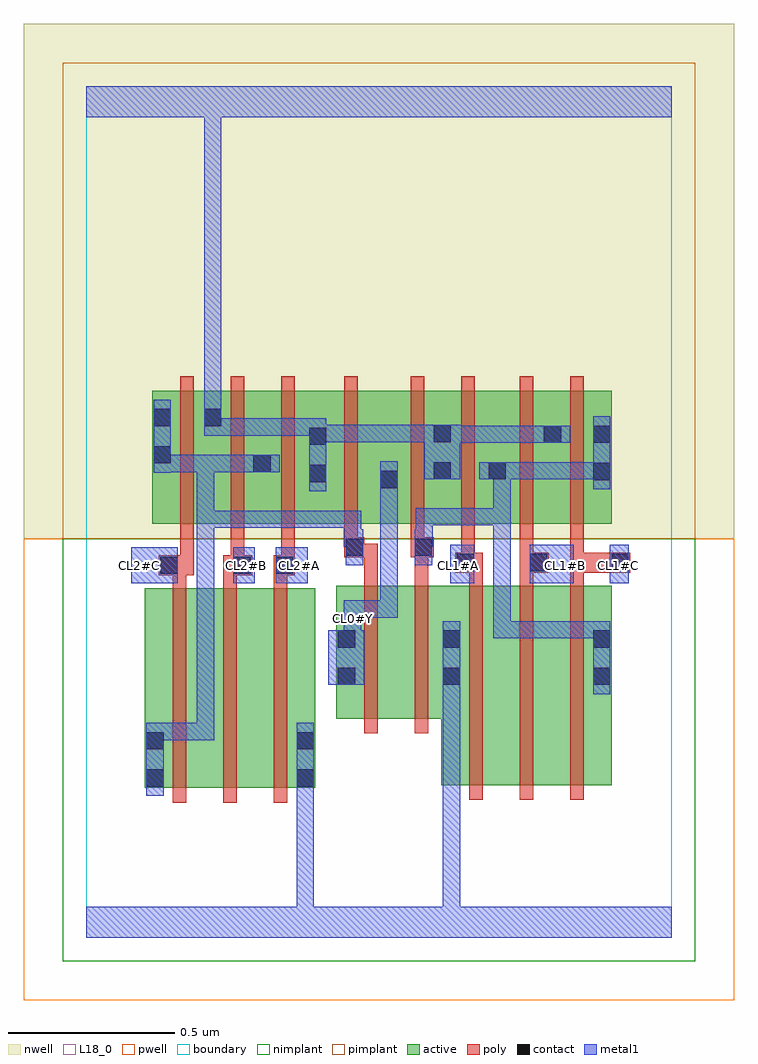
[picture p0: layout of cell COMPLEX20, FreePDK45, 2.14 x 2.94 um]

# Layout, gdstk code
import gdstk
lib = gdstk.Library(unit=1e-6, precision=1e-09)
def R(c, l, rs):  # rectangles x0, y0, x1, y1
    for r in rs: c.add(gdstk.rectangle(r[:2], r[2:], *l))
def A(c, l, x, y, w, h, nx, ny, dx, dy):  # array of equal rectangles
    R(c, l, [(x+i*dx, y+j*dy, x+i*dx+w, y+j*dy+h) for i in range(nx) for j in range(ny)])
active = (1, 0)
pwell = (2, 0)
nwell = (3, 0)
nimplant = (4, 0)
pimplant = (5, 0)
poly = (9, 0)
contact = (10, 0)
metal1 = (11, 0)
L18_0 = (18, 0)
boundary = (235, 0)

complex20 = lib.new_cell('COMPLEX20')
A(complex20, active, 1.04, 1.244, 0.06, 0.4, 3, 1, 0.166, 0)
R(complex20, active, [(0.176,0.45,0.356,1.05), (0.176,0.45,0.236,1.05), (0.356,0.45,0.508,1.05), (0.508,0.45,0.688,1.05), (0.628,0.45,0.688,1.05), (1.068,0.458,1.248,1.058), (1.248,0.458,1.4,1.058), (1.4,0.458,1.58,1.058), (1.52,0.556,1.58,1.058), (0.752,0.658,0.932,1.058), (0.932,0.658,1.128,1.058), (0.752,0.756,0.812,1.058), (1.068,0.756,1.128,1.058), (0.198,1.244,0.258,1.644), (0.198,1.244,0.41,1.644), (0.35,1.244,0.41,1.644), (0.35,1.244,0.558,1.644), (0.498,1.244,0.558,1.644), (0.498,1.244,0.726,1.644), (0.666,1.244,0.726,1.644), (0.666,1.244,0.94,1.644), (0.88,1.244,0.94,1.644), (0.88,1.244,1.1,1.644), (1.04,1.244,1.266,1.644), (1.206,1.244,1.432,1.644), (1.372,1.244,1.58,1.644), (1.52,1.244,1.58,1.644)])
R(complex20, pwell, [(-0.188,-0.188,1.948,1.2)])
R(complex20, nwell, [(-0.188,1.2,1.948,2.748)])
R(complex20, nimplant, [(-0.072,-0.072,1.832,1.2)])
R(complex20, pimplant, [(-0.072,1.2,1.832,2.632)])
A(complex20, poly, 0.26, 0.406, 0.04, 0.688, 3, 1, 0.152, 0)
A(complex20, poly, 1.152, 0.414, 0.04, 0.688, 3, 1, 0.152, 0)
A(complex20, poly, 0.26, 1.054, 0.04, 0.076, 3, 1, 0.152, 0)
A(complex20, poly, 1.152, 1.062, 0.04, 0.076, 3, 1, 0.152, 0)
A(complex20, poly, 0.282, 1.11, 0.04, 0.13, 3, 1, 0.152, 0)
A(complex20, poly, 0.282, 1.2, 0.04, 0.488, 3, 1, 0.152, 0)
R(complex20, poly, [(0.836,0.614,0.876,1.102), (0.988,0.614,1.028,1.102), (0.836,1.062,0.876,1.184), (0.988,1.062,1.028,1.184), (0.218,1.09,0.322,1.15), (0.26,1.09,0.3,1.13), (0.26,1.09,0.3,1.13), (0.412,1.09,0.498,1.15), (0.564,1.09,0.626,1.15), (1.11,1.098,1.192,1.158), (1.304,1.098,1.344,1.138), (1.304,1.098,1.344,1.138), (1.304,1.098,1.39,1.158), (1.456,1.098,1.496,1.138), (1.456,1.098,1.496,1.138), (1.456,1.098,1.636,1.158), (0.434,1.11,0.474,1.15), (0.434,1.11,0.474,1.15), (0.586,1.11,0.626,1.15), (0.586,1.11,0.626,1.15), (1.128,1.118,1.168,1.24), (1.128,1.118,1.168,1.158), (1.128,1.118,1.168,1.158), (1.304,1.118,1.344,1.24), (1.456,1.118,1.496,1.24), (0.776,1.144,0.836,1.204), (0.796,1.144,0.836,1.184), (0.796,1.144,0.876,1.184), (0.976,1.144,1.044,1.204), (0.988,1.144,1.028,1.184), (0.988,1.144,1.028,1.184), (0.776,1.164,0.816,1.24), (0.976,1.164,1.016,1.24), (0.776,1.2,0.816,1.688), (0.976,1.2,1.016,1.688), (1.128,1.2,1.168,1.688), (1.304,1.2,1.344,1.688), (1.456,1.2,1.496,1.688)])
R(complex20, contact, [(0.18,0.454,0.232,0.506), (0.632,0.454,0.684,0.506), (0.18,0.566,0.232,0.618), (0.632,0.566,0.684,0.618), (0.756,0.76,0.808,0.812), (1.072,0.76,1.124,0.812), (1.524,0.76,1.576,0.812), (0.756,0.872,0.808,0.924), (1.072,0.872,1.124,0.924), (1.524,0.872,1.576,0.924), (0.222,1.094,0.274,1.146), (0.442,1.094,0.494,1.146), (0.57,1.094,0.622,1.146), (1.114,1.102,1.166,1.154), (1.334,1.102,1.386,1.154), (1.58,1.102,1.632,1.154), (0.78,1.148,0.832,1.2), (0.988,1.148,1.04,1.2), (0.884,1.352,0.936,1.404), (0.67,1.37,0.722,1.422), (1.524,1.376,1.576,1.428), (1.044,1.378,1.096,1.43), (1.21,1.378,1.262,1.43), (0.502,1.4,0.554,1.452), (0.202,1.426,0.254,1.478), (0.67,1.482,0.722,1.534), (1.376,1.488,1.428,1.54), (1.524,1.488,1.576,1.54), (1.044,1.49,1.096,1.542), (0.202,1.538,0.254,1.59), (0.354,1.538,0.406,1.59)])
R(complex20, metal1, [(0,0,1.76,0.092), (0.632,0.04,0.684,0.092), (0.632,0.04,0.684,0.092), (0.632,0.04,0.684,0.092), (0.632,0.04,0.684,0.092), (0.632,0.04,0.684,0.092), (0.632,0.04,0.684,0.092), (0.632,0.04,0.684,0.092), (0.632,0.04,0.684,0.092), (0.632,0.04,0.684,0.478), (1.072,0.04,1.124,0.092), (1.072,0.04,1.124,0.092), (1.072,0.04,1.124,0.092), (1.072,0.04,1.124,0.092), (1.072,0.04,1.124,0.092), (1.072,0.04,1.124,0.092), (1.072,0.04,1.124,0.784), (0.18,0.426,0.232,0.646), (0.632,0.426,0.684,0.646), (0.18,0.594,0.232,0.646), (0.18,0.594,0.232,0.646), (0.18,0.594,0.384,0.646), (0.332,0.594,0.384,0.646), (0.332,0.594,0.384,0.646), (0.332,0.594,0.384,0.646), (0.332,0.594,0.384,1.284), (1.072,0.732,1.124,0.784), (1.072,0.732,1.124,0.784), (1.072,0.732,1.124,0.952), (1.524,0.732,1.576,0.952), (0.728,0.76,0.836,0.924), (0.774,0.872,0.826,0.958), (1.224,0.9,1.276,0.952), (1.224,0.9,1.276,0.952), (1.224,0.9,1.276,0.952), (1.224,0.9,1.4,0.952), (1.224,0.9,1.276,1.292), (1.348,0.9,1.4,0.952), (1.348,0.9,1.4,0.952), (1.348,0.9,1.4,0.952), (1.348,0.9,1.576,0.952), (1.524,0.9,1.576,0.952), (1.524,0.9,1.576,0.952), (0.774,0.906,0.826,1.014), (0.774,0.962,0.836,1.014), (0.784,0.962,0.836,1.014), (0.784,0.962,0.936,1.014), (0.884,0.962,0.936,1.014), (0.884,0.962,0.936,1.014), (0.884,0.962,0.936,1.014), (0.884,0.962,0.936,1.376), (0.134,1.066,0.274,1.174), (0.442,1.066,0.506,1.174), (0.57,1.066,0.666,1.174), (1.094,1.066,1.166,1.182), (1.334,1.066,1.466,1.182), (1.574,1.066,1.632,1.182), (0.78,1.12,0.832,1.228), (0.988,1.12,1.04,1.228), (0.774,1.176,0.826,1.284), (0.774,1.176,0.832,1.228), (0.988,1.176,1.042,1.228), (0.99,1.176,1.042,1.292), (0.332,1.232,0.384,1.284), (0.332,1.232,0.384,1.284), (0.332,1.232,0.384,1.284), (0.332,1.232,0.384,1.452), (0.332,1.232,0.516,1.284), (0.464,1.232,0.516,1.284), (0.464,1.232,0.67,1.284), (0.618,1.232,0.67,1.284), (0.618,1.232,0.67,1.284), (0.618,1.232,0.67,1.284), (0.618,1.232,0.826,1.284), (0.99,1.24,1.166,1.292), (1.114,1.24,1.166,1.292), (1.114,1.24,1.276,1.292), (1.224,1.24,1.276,1.292), (1.224,1.24,1.276,1.43), (0.884,1.324,0.936,1.432), (0.67,1.342,0.722,1.562), (1.524,1.348,1.576,1.568), (1.016,1.378,1.124,1.542), (1.182,1.378,1.29,1.43), (1.238,1.378,1.29,1.43), (1.238,1.378,1.29,1.43), (1.238,1.378,1.4,1.43), (1.348,1.378,1.4,1.43), (1.348,1.378,1.576,1.43), (1.524,1.378,1.576,1.43), (1.524,1.378,1.576,1.43), (0.202,1.398,0.254,1.618), (0.202,1.4,0.254,1.452), (0.202,1.4,0.254,1.452), (0.202,1.4,0.384,1.452), (0.332,1.4,0.384,1.452), (0.332,1.4,0.384,1.452), (0.332,1.4,0.384,1.452), (0.332,1.4,0.526,1.452), (0.474,1.4,0.582,1.452), (1.072,1.488,1.15,1.54), (1.098,1.488,1.15,1.54), (1.098,1.488,1.276,1.54), (1.224,1.488,1.276,1.54), (1.224,1.488,1.276,1.54), (1.224,1.488,1.276,1.54), (1.224,1.488,1.4,1.54), (1.348,1.488,1.456,1.54), (0.67,1.49,0.826,1.542), (0.774,1.49,0.826,1.542), (0.774,1.49,0.836,1.542), (0.784,1.49,0.836,1.542), (0.784,1.49,0.936,1.542), (0.884,1.49,0.936,1.542), (0.884,1.49,0.946,1.542), (0.894,1.49,0.946,1.542), (0.894,1.49,1.068,1.542), (0.354,1.51,0.406,1.562), (0.354,1.51,0.406,1.562), (0.354,1.51,0.406,1.618), (0.354,1.51,0.56,1.562), (0.508,1.51,0.56,1.562), (0.508,1.51,0.56,1.562), (0.508,1.51,0.56,1.562), (0.508,1.51,0.722,1.562), (0.354,1.566,0.406,1.618), (0.354,1.566,0.406,1.618), (0.354,1.566,0.406,1.618), (0.354,1.566,0.406,1.618), (0.354,1.566,0.406,1.618), (0.354,1.566,0.406,1.618), (0.354,1.566,0.406,1.618), (0.354,1.566,0.406,1.618), (0.354,1.566,0.406,1.618), (0.354,1.566,0.406,1.618), (0.354,1.566,0.406,1.618), (0.354,1.566,0.406,1.618), (0.354,1.566,0.406,2.52), (0,2.468,1.76,2.56), (0.354,2.468,0.406,2.52), (0.354,2.468,0.406,2.52), (0.354,2.468,0.406,2.52), (0.354,2.468,0.406,2.52)])
R(complex20, L18_0, [(0,0,1.76,0.092), (0.632,0.04,0.684,0.092), (0.632,0.04,0.684,0.092), (0.632,0.04,0.684,0.092), (0.632,0.04,0.684,0.092), (0.632,0.04,0.684,0.092), (0.632,0.04,0.684,0.092), (0.632,0.04,0.684,0.092), (0.632,0.04,0.684,0.092), (0.632,0.04,0.684,0.478), (1.072,0.04,1.124,0.092), (1.072,0.04,1.124,0.092), (1.072,0.04,1.124,0.092), (1.072,0.04,1.124,0.092), (1.072,0.04,1.124,0.092), (1.072,0.04,1.124,0.092), (1.072,0.04,1.124,0.784), (0.632,0.426,0.684,0.646), (1.072,0.732,1.124,0.784), (1.072,0.732,1.124,0.784), (1.072,0.732,1.124,0.952), (0.728,0.76,0.836,0.924), (0.774,0.872,0.826,0.958), (0.774,0.906,0.826,1.014), (0.774,0.934,0.826,0.986), (0.774,0.962,0.836,1.014), (0.784,0.962,0.836,1.014), (0.784,0.962,0.936,1.014), (0.884,0.962,0.936,1.014), (0.884,0.962,0.936,1.014), (0.884,0.962,0.936,1.014), (0.884,0.962,0.936,1.376), (0.134,1.066,0.274,1.174), (0.442,1.066,0.506,1.174), (0.57,1.066,0.666,1.174), (1.094,1.066,1.166,1.182), (1.334,1.066,1.466,1.182), (1.574,1.066,1.632,1.182), (0.134,1.094,0.186,1.146), (0.454,1.094,0.506,1.146), (0.614,1.094,0.666,1.146), (1.094,1.094,1.146,1.146), (1.414,1.094,1.466,1.146), (1.574,1.094,1.626,1.146), (0.884,1.324,0.936,1.432), (0.67,1.342,0.722,1.562), (1.016,1.378,1.124,1.542), (1.072,1.488,1.15,1.54), (1.098,1.488,1.15,1.54), (1.098,1.488,1.276,1.54), (1.224,1.488,1.276,1.54), (1.224,1.488,1.276,1.54), (1.224,1.488,1.276,1.54), (1.224,1.488,1.4,1.54), (1.348,1.488,1.456,1.54), (0.67,1.49,0.826,1.542), (0.774,1.49,0.826,1.542), (0.774,1.49,0.836,1.542), (0.784,1.49,0.836,1.542), (0.784,1.49,0.936,1.542), (0.884,1.49,0.936,1.542), (0.884,1.49,0.946,1.542), (0.894,1.49,0.946,1.542), (0.894,1.49,1.068,1.542), (0.354,1.51,0.406,1.618), (0.354,1.51,0.406,1.562), (0.354,1.51,0.406,1.562), (0.354,1.51,0.56,1.562), (0.508,1.51,0.56,1.562), (0.508,1.51,0.56,1.562), (0.508,1.51,0.56,1.562), (0.508,1.51,0.722,1.562), (0.354,1.566,0.406,1.618), (0.354,1.566,0.406,1.618), (0.354,1.566,0.406,1.618), (0.354,1.566,0.406,1.618), (0.354,1.566,0.406,1.618), (0.354,1.566,0.406,1.618), (0.354,1.566,0.406,1.618), (0.354,1.566,0.406,1.618), (0.354,1.566,0.406,1.618), (0.354,1.566,0.406,1.618), (0.354,1.566,0.406,1.618), (0.354,1.566,0.406,1.618), (0.354,1.566,0.406,2.52), (0,2.468,1.76,2.56), (0.354,2.468,0.406,2.52), (0.354,2.468,0.406,2.52), (0.354,2.468,0.406,2.52), (0.354,2.468,0.406,2.52)])
R(complex20, boundary, [(0,0,1.76,2.56)])
complex20.add(gdstk.Label('CL0#Y', (0.8,0.96), layer=11, texttype=0))
complex20.add(gdstk.Label('CL1#A', (1.12,1.12), layer=11, texttype=0))
complex20.add(gdstk.Label('CL1#B', (1.44,1.12), layer=11, texttype=0))
complex20.add(gdstk.Label('CL1#C', (1.6,1.12), layer=11, texttype=0))
complex20.add(gdstk.Label('CL2#A', (0.64,1.12), layer=11, texttype=0))
complex20.add(gdstk.Label('CL2#B', (0.48,1.12), layer=11, texttype=0))
complex20.add(gdstk.Label('CL2#C', (0.16,1.12), layer=11, texttype=0))

lib.write_gds('COMPLEX20.gds')
